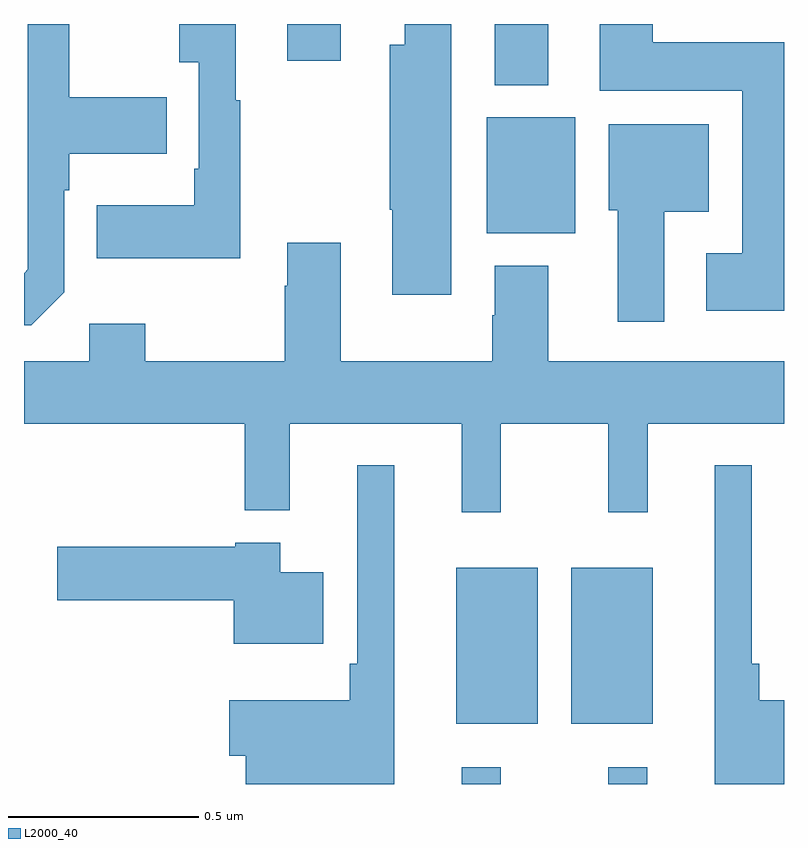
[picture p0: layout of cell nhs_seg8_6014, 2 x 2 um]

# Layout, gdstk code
import gdstk
lib = gdstk.Library(unit=1e-6, precision=1e-09)
def R(c, l, rs):  # rectangles x0, y0, x1, y1
    for r in rs: c.add(gdstk.rectangle(r[:2], r[2:], *l))
def P(c, l, *ps):  # polygons
    for p in ps: c.add(gdstk.Polygon(p, *l))
L2000_40 = (2000, 40)

nhs_seg8_6014 = lib.new_cell('nhs_seg8_6014')
R(nhs_seg8_6014, L2000_40, [(192.152,1100.9,192.254,1100.944), (192.538,1100.9,192.64,1100.944), (192.137,1101.059,192.352,1101.469), (192.44,1101.059,192.655,1101.469), (192.218,1102.349,192.451,1102.654), (192.239,1102.739,192.379,1102.9), (191.693,1102.803,191.833,1102.9)])
P(nhs_seg8_6014, L2000_40, [(191.106,1102.194),(191.106,1102.463),(191.119,1102.463),(191.119,1102.559),(191.375,1102.559),(191.375,1102.707),(191.119,1102.707),(191.119,1102.9),(191.01,1102.9),(191.01,1102.254),(191,1102.244),(191,1102.107),(191.019,1102.107)],
  [(193,1102.852),(192.655,1102.852),(192.655,1102.9),(192.515,1102.9),(192.515,1102.724),(192.89,1102.724),(192.89,1102.297),(192.795,1102.297),(192.795,1102.145),(193,1102.145)],
  [(192.124,1102.9),(192.002,1102.9),(192.002,1102.846),(191.962,1102.846),(191.962,1102.411),(191.969,1102.411),(191.969,1102.188),(192.124,1102.188)],
  [(191.569,1102.699),(191.557,1102.699),(191.557,1102.9),(191.409,1102.9),(191.409,1102.799),(191.46,1102.799),(191.46,1102.519),(191.448,1102.519),(191.448,1102.423),(191.191,1102.423),(191.191,1102.283),(191.569,1102.283)],
  [(192.685,1102.406),(192.802,1102.406),(192.802,1102.636),(192.539,1102.636),(192.539,1102.41),(192.563,1102.41),(192.563,1102.116),(192.685,1102.116)],
  [(192.254,1101.848),(192.538,1101.848),(192.538,1101.615),(192.641,1101.615),(192.641,1101.848),(193,1101.848),(193,1102.012),(192.379,1102.012),(192.379,1102.264),(192.239,1102.264),(192.239,1102.133),(192.232,1102.133),(192.232,1102.012),(191.833,1102.012),(191.833,1102.324),(191.693,1102.324),(191.693,1102.211),(191.686,1102.211),(191.686,1102.012),(191.319,1102.012),(191.319,1102.111),(191.172,1102.111),(191.172,1102.012),(191,1102.012),(191,1101.848),(191.581,1101.848),(191.581,1101.62),(191.699,1101.62),(191.699,1101.848),(192.152,1101.848),(192.152,1101.615),(192.254,1101.615)],
  [(193,1101.121),(192.935,1101.121),(192.935,1101.217),(192.915,1101.217),(192.915,1101.739),(192.818,1101.739),(192.818,1100.9),(193,1100.9)],
  [(191.974,1101.739),(191.877,1101.739),(191.877,1101.217),(191.857,1101.217),(191.857,1101.121),(191.54,1101.121),(191.54,1100.974),(191.584,1100.974),(191.584,1100.9),(191.974,1100.9)],
  [(191.788,1101.457),(191.674,1101.457),(191.674,1101.535),(191.556,1101.535),(191.556,1101.525),(191.088,1101.525),(191.088,1101.383),(191.552,1101.383),(191.552,1101.269),(191.788,1101.269)])

lib.write_gds('nhs_seg8_6014.gds')
